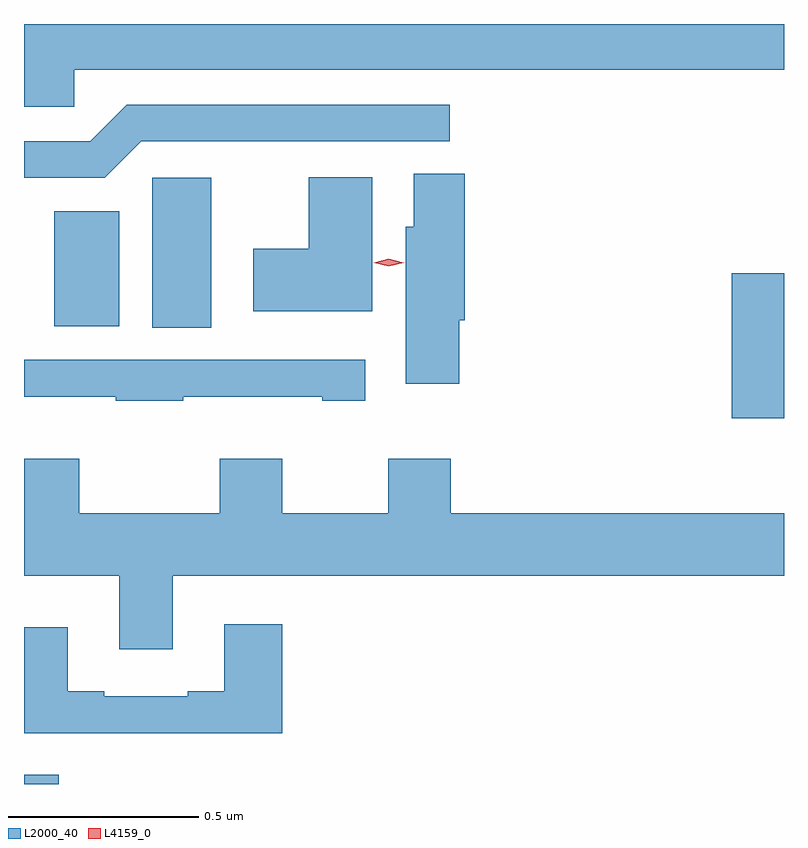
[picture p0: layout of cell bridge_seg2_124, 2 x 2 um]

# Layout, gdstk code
import gdstk
lib = gdstk.Library(unit=1e-6, precision=1e-09)
def R(c, l, rs):  # rectangles x0, y0, x1, y1
    for r in rs: c.add(gdstk.rectangle(r[:2], r[2:], *l))
def P(c, l, *ps):  # polygons
    for p in ps: c.add(gdstk.Polygon(p, *l))
L2000_40 = (2000, 40)
L4159_0 = (4159, 0)

bridge_seg2_124 = lib.new_cell('bridge_seg2_124')
R(bridge_seg2_124, L2000_40, [(491.586,623.112,491.677,623.136), (493.448,624.075,493.586,624.456), (491.924,624.313,492.079,624.708), (491.666,624.317,491.836,624.619)])
P(bridge_seg2_124, L2000_40, [(491.718,624.992),(493.586,624.992),(493.586,625.112),(491.586,625.112),(491.586,624.894),(491.718,624.894)],
  [(491.895,624.804),(492.706,624.804),(492.706,624.9),(491.856,624.9),(491.76,624.804),(491.586,624.804),(491.586,624.708),(491.799,624.708)],
  [(492.731,624.333),(492.746,624.333),(492.746,624.718),(492.611,624.718),(492.611,624.579),(492.59,624.579),(492.59,624.165),(492.731,624.165)],
  [(492.502,624.709),(492.335,624.709),(492.335,624.52),(492.189,624.52),(492.189,624.356),(492.502,624.356)],
  [(492.005,624.131),(492.371,624.131),(492.371,624.12),(492.484,624.12),(492.484,624.228),(491.586,624.228),(491.586,624.131),(491.827,624.131),(491.827,624.12),(492.005,624.12)],
  [(491.977,623.66),(493.586,623.66),(493.586,623.824),(492.709,623.824),(492.709,623.968),(492.545,623.968),(492.545,623.824),(492.265,623.824),(492.265,623.968),(492.101,623.968),(492.101,623.824),(491.731,623.824),(491.731,623.968),(491.586,623.968),(491.586,623.66),(491.837,623.66),(491.837,623.466),(491.977,623.466)],
  [(492.266,623.533),(492.113,623.533),(492.113,623.356),(492.017,623.356),(492.017,623.343),(491.797,623.343),(491.797,623.356),(491.701,623.356),(491.701,623.524),(491.586,623.524),(491.586,623.246),(492.266,623.246)])
P(bridge_seg2_124, L4159_0, [(492.546,624.474),(492.506,624.484),(492.506,624.484),(492.506,624.484),(492.546,624.494),(492.585,624.484),(492.586,624.484),(492.585,624.484)])

lib.write_gds('bridge_seg2_124.gds')
